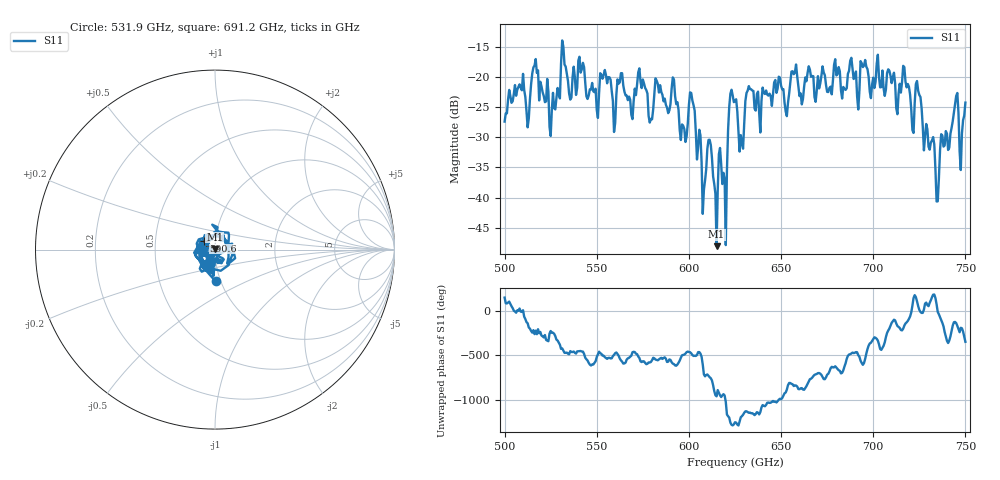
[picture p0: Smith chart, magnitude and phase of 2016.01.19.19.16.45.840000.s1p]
!Created with skrf (http://scikit-rf.org).
# GHz S RI R 50.0
!freq ReS11 ImS11
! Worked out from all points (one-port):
!   401 points, 500 GHz to 750 GHz, reference 50 ohm
!   lowest |S11| = -48.0 dB at 615 GHz (marker M1), VSWR 1.01, Z = 49.8 + j0.345 ohm
!   |S11| at or under -10 dB: start of sweep to end of sweep
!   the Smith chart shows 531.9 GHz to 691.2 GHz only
!   S11 on the Smith chart (normalised r, x): 531.9 GHz: 0.95, -0.35; 590.6 GHz: 0.88, +0.09; 691.2 GHz: 0.95, -0.13
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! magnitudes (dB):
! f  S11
! 500 GHz  -27.4
! 512.5 GHz  -28.4
! 516.9 GHz  -17.1
! 525.6 GHz  -25.5
! 531.2 GHz  -14.0
! 531.9 GHz  -15.0
! 559.4 GHz  -29.1
! 562.5 GHz  -20.9
! 579.4 GHz  -26.9
! 590.6 GHz  -22.0
! 593.8 GHz  -24.2
! 601.9 GHz  -23.9
! 608.1 GHz  -38.7
! 611.2 GHz  -30.4
! 615 GHz  -48.0
! 619.4 GHz  -36.9
! 622.5 GHz  -22.8
! 625 GHz  -24.0
! 628.1 GHz  -29.6
! 632.5 GHz  -21.5
! 656.2 GHz  -19.1
! 687.5 GHz  -17.4
! 691.2 GHz  -23.2
! 718.8 GHz  -21.2
! 735 GHz  -40.6
! 744.4 GHz  -24.6
! 748.1 GHz  -29.4
! 750 GHz  -24.3
